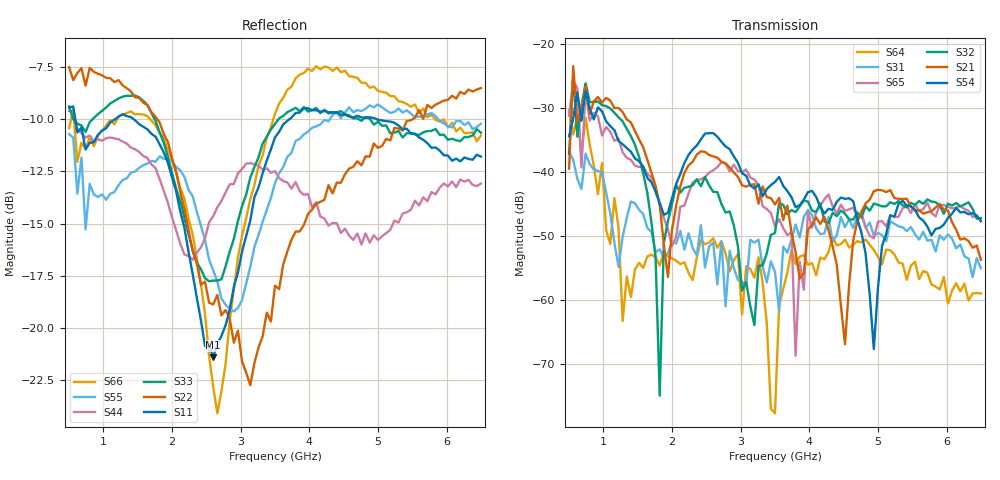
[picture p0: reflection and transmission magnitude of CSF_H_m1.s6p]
!Keysight Technologies,M9804A,MY58100912,A.14.10.03
!Date: Thursday, April 27, 2023 10:28:33
!Correction: S11(C  6-Port  )
!S12(C  6-Port  )
!S13(C  6-Port  )
!S14(C  6-Port  )
!S15(C  6-Port  )
!S16(C  6-Port  )
!S21(C  6-Port  )
!S22(C  6-Port  )
!S23(C  6-Port  )
!S24(C  6-Port  )
!S25(C  6-Port  )
!S26(C  6-Port  )
!S31(C  6-Port  )
!S32(C  6-Port  )
!S33(C  6-Port  )
!S34(C  6-Port  )
!S35(C  6-Port  )
!S36(C  6-Port  )
!S41(C  6-Port  )
!S42(C  6-Port  )
!S43(C  6-Port  )
!S44(C  6-Port  )
!S45(C  6-Port  )
!S46(C  6-Port  )
!S51(C  6-Port  )
!S52(C  6-Port  )
!S53(C  6-Port  )
!S54(C  6-Port  )
!S55(C  6-Port  )
!S56(C  6-Port  )
!S61(C  6-Port  )
!S62(C  6-Port  )
!S63(C  6-Port  )
!S64(C  6-Port  )
!S65(C  6-Port  )
!S66(C  6-Port  )
!S6P File: Measurement: :
# Hz S  RI  R 50
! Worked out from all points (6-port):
!   101 points, 500 MHz to 6.5 GHz, reference 50 ohm
!   strongest paths, dB at 500 MHz, 2 GHz, 3.5 GHz, 5 GHz, 6.5 GHz:
!     S54: -34.4, -44.1, -41.6, -58.2, -47.7
!     S21: -39.5, -49.0, -45.1, -42.8, -53.8
!     S32: -37.2, -45.0, -49.6, -45.2, -47.3
!     S65: -31.3, -51.6, -48.5, -47.8, -47.8
!     S31: -36.9, -50.9, -55.7, -49.6, -55.1
!     S64: -30.4, -53.5, -77.7, -53.3, -59.0
!   lowest |S11| = -21.4 dB at 2.6 GHz (marker M1), VSWR 1.19, Z = 42.4 + j2.17 ohm
!   |S11| at or under -10 dB: 588.9 MHz to 1.171 GHz (581.7 MHz wide, 66.1 % of centre); 1.438 GHz to 3.713 GHz (2.275 GHz wide, 88.3 % of centre); 4.977 GHz to end of sweep
